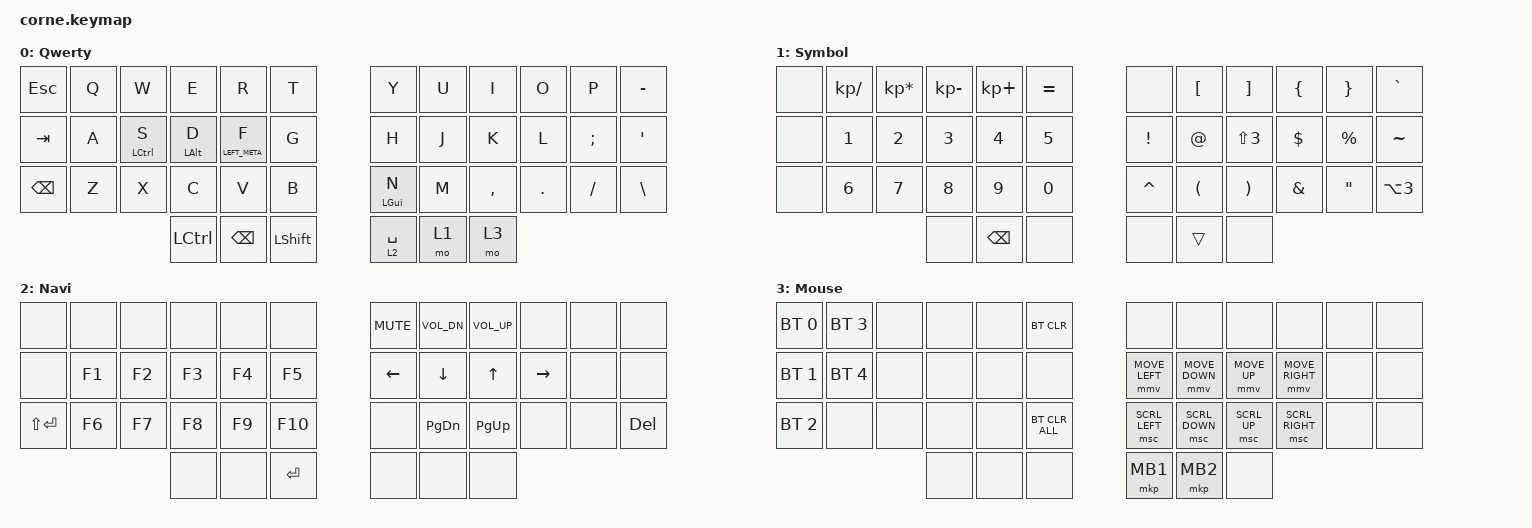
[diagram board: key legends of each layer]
/*
 * Copyright (c) 2020 The ZMK Contributors
 *
 * SPDX-License-Identifier: MIT
 */

#include <behaviors.dtsi>
#include <dt-bindings/zmk/bt.h>
#include <dt-bindings/zmk/keys.h>
#include <dt-bindings/zmk/pointing.h>

&mt { flavor = "tap-preferred"; };

/ {
    sensors {
        compatible = "zmk,keymap-sensors";
        sensors = <&left_encoder &right_encoder>;
        triggers-per-rotation = <20>;
    };
};

&led_strip { chain-length = <27>; };

&nice_view_spi { cs-gpios = <&pro_micro 8 GPIO_ACTIVE_HIGH>; };

/ {
    keymap {
        compatible = "zmk,keymap";

        Qwerty {
            bindings = <
&kp ESCAPE     &kp Q  &kp W        &kp E             &kp R            &kp T        &kp Y           &kp U  &kp I      &kp O    &kp P     &kp MINUS
&kp TAB        &kp A  &mt LCTRL S  &mt LALT D        &mt LEFT_META F  &kp G        &kp H           &kp J  &kp K      &kp L    &kp SEMI  &kp SQT
&kp BACKSPACE  &kp Z  &kp X        &kp C             &kp V            &kp B        &mt LEFT_GUI N  &kp M  &kp COMMA  &kp DOT  &kp FSLH  &kp BACKSLASH
                                   &kp LEFT_CONTROL  &kp BACKSPACE    &kp LSHFT    &lt 2 SPACE     &mo 1  &mo 3
            >;
        };

        Symbol {
            bindings = <
&none  &kp KP_DIVIDE  &kp KP_ASTERISK  &kp KP_SUBTRACT  &kp KP_PLUS    &kp EQUAL    &none            &kp LEFT_BRACKET      &kp RIGHT_BRACKET      &kp LEFT_BRACE  &kp RIGHT_BRACE    &kp GRAVE
&none  &kp N1         &kp N2           &kp N3           &kp N4         &kp N5       &kp EXCLAMATION  &kp AT_SIGN           &kp LS(NUMBER_3)       &kp DOLLAR      &kp PERCENT        &kp TILDE
&none  &kp N6         &kp N7           &kp N8           &kp N9         &kp N0       &kp CARET        &kp LEFT_PARENTHESIS  &kp RIGHT_PARENTHESIS  &kp AMPERSAND   &kp DOUBLE_QUOTES  &kp LA(NUMBER_3)
                                       &none            &kp BACKSPACE  &none        &none            &trans                &none
            >;
        };

        Navi {
            bindings = <
&none          &none   &none   &none   &none   &none        &kp K_MUTE      &kp C_VOL_DN   &kp C_VOLUME_UP  &none      &none  &none
&none          &kp F1  &kp F2  &kp F3  &kp F4  &kp F5       &kp LEFT_ARROW  &kp DOWN       &kp UP_ARROW     &kp RIGHT  &none  &none
&kp LS(ENTER)  &kp F6  &kp F7  &kp F8  &kp F9  &kp F10      &none           &kp PAGE_DOWN  &kp PG_UP        &none      &none  &kp DEL
                               &none   &none   &kp ENTER    &none           &none          &none
            >;
        };

        Mouse {
            bindings = <
&bt BT_SEL 0  &bt BT_SEL 3  &none  &none  &none  &bt BT_CLR        &none           &none           &none         &none            &none  &none
&bt BT_SEL 1  &bt BT_SEL 4  &none  &none  &none  &none             &mmv MOVE_LEFT  &mmv MOVE_DOWN  &mmv MOVE_UP  &mmv MOVE_RIGHT  &none  &none
&bt BT_SEL 2  &none         &none  &none  &none  &bt BT_CLR_ALL    &msc SCRL_LEFT  &msc SCRL_DOWN  &msc SCRL_UP  &msc SCRL_RIGHT  &none  &none
                                   &none  &none  &none             &mkp MB1        &mkp MB2        &none
            >;
        };
    };
};
